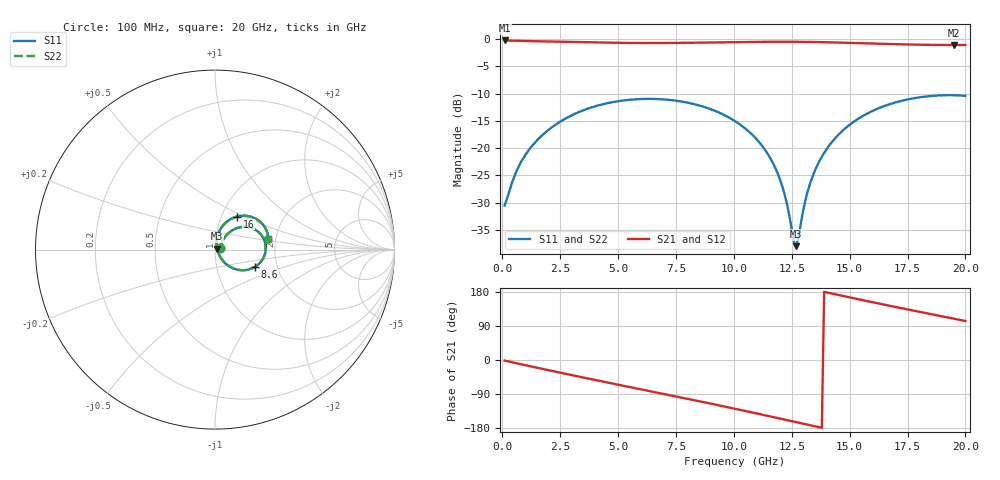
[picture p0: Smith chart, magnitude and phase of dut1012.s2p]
! Touchstone file exported from HFSS 2026.1.0
!  File:  C:/ffzhzh/LocalFiles/Ansys_Project_Files/temp_train_TSV_RDL_1012_1783291576_39728.aedt
!  Generated:  06:54:42 AM Jul  6, 2026
!  Design:  TSV_RDL
!  Project:  temp_train_TSV_RDL_1012_1783291576_39728
! Variables:
!  h_bsmrdl = 4.15um
!  h_ox = 20um
!  h_rdl = 5um
!  h_sub = 96.31um
!  h_tmrdl = 2.14um
!  h_tsv = 96.31um
!  h_via = 3um
!  l_bsmrdl = 150.03um
!  l_sub = 3921.61um
!  l_tmrdl = 744.27um
!  m_sub = 200um
!  pitch = 32.69um
!  r_tsv = 10.94um
!  s_tmrdl = 10um
!  w_bsmrdl = 10.86um
!  w_sub = 500um
!  w_tmrdl = 20.62um
!  x_tsv_center1 = 754.58um
!  x_tsv_center2 = 915.47um
!  x_tsv_center3 = 1680.36um
!  x_tsv_center4 = 1841.25um
!  x_tsv_center5 = 2606.14um
!  x_tsv_center6 = 2767.03um
# GHz S MA R 50.000000
! Terminal data exported
! Port[1] = TM_RDL1_1_T1
! Port[2] = TM_RDL5_1_T1
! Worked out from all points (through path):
!   200 points, 100 MHz to 20 GHz, reference 50 ohm
!   highest |S21| = -0.25 dB at 100 MHz (marker M1); lowest = -1.1 dB at 19.5 GHz (marker M2)
!   group delay of S21, straight-line fit = 35.8 ps
!   lowest |S11| = -38.0 dB at 12.7 GHz (marker M3), VSWR 1.03, Z = 51.2 + j0.448 ohm
!   |S11| at or under -10 dB: start of sweep to end of sweep
!   |S22| runs from -37.7 to -10.3 dB; largest |S21 - S12| = 1.6e-14
!   S11 on the Smith chart (normalised r, x): 100 MHz: 1.06, +0.02; 8.6 GHz: 1.54, -0.31; 16 GHz: 1.18, +0.46; 20 GHz: 1.83, +0.23
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0.1  0.02977 16.5  0.9716 -1.5  0.9716 -1.5  0.02977 16.5
! Gamma 0 0 0 0
! Port Impedance 50 0 50 0
0.7  0.0675 49.7  0.9639 -9.8  0.9639 -9.8  0.06749 49.7
1.3  0.1059 51.2  0.9572 -17.8  0.9572 -17.8  0.1059 51.2
2.3  0.1643 45.5  0.9477 -30.9  0.9477 -30.9  0.1643 45.5
3.5  0.2226 34.2  0.9361 -46.3  0.9361 -46.3  0.2226 34.2
5.1  0.2715 16.9  0.9239 -66.4  0.9239 -66.4  0.2714 16.9
6.8  0.2815 -2.3  0.9205 -87.4  0.9205 -87.4  0.2814 -2.3
8.6  0.2431 -23.2  0.9284 -109.9  0.9284 -109.9  0.243 -23.1
10.1  0.1744 -40.5  0.9389 -129.3  0.9389 -129.3  0.1743 -40.4
11  0.1197 -50.1  0.9439 -141.2  0.9439 -141.2  0.1196 -49.9
11.7  0.07225 -55.2  0.9458 -150.6  0.9458 -150.6  0.07215 -54.8
12.2  0.03723 -52.0  0.9458 -157.3  0.9458 -157.3  0.0372 -51.4
12.6  0.0137 -10.9  0.9448 -162.7  0.9448 -162.7  0.01397 -9.6
12.7  0.01265 20.2  0.9445 -164.1  0.9445 -164.1  0.01304 20.7
13.1  0.03393 74.9  0.9425 -169.5  0.9425 -169.5  0.03421 74.5
13.4  0.05508 79.5  0.9405 -173.5  0.9405 -173.5  0.05532 79.3
13.8  0.08359 78.9  0.9371 -178.9  0.9371 -178.9  0.08379 78.7
14.4  0.1251 74.0  0.9309 173.1  0.9309 173.1  0.1253 74.0
16  0.2202 56.5  0.9105 152.3  0.9105 152.3  0.2203 56.5
16.7  0.252 48.4  0.9017 143.5  0.9017 143.5  0.2521 48.5
19.5  0.3058 16.4  0.8826 109.0  0.8826 109.0  0.3058 16.6
20  0.3022 10.8  0.8831 102.9  0.8831 102.9  0.3022 11.0
